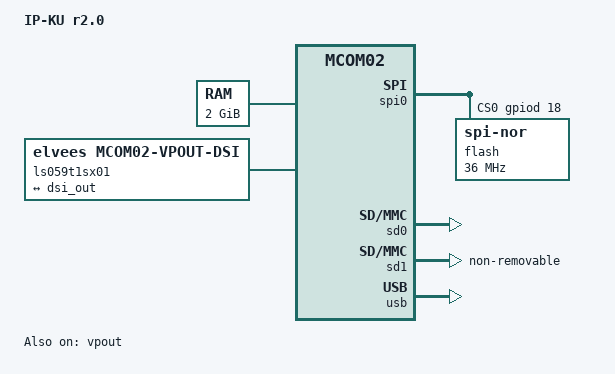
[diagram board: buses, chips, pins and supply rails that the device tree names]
/*
 * Copyright 2018 RnD Center "ELVEES", JSC
 *
 * This program is free software; you can redistribute it and/or modify
 * it under the terms of the GNU General Public License version 2 as
 * published by the Free Software Foundation.
 */

/dts-v1/;

#include <dt-bindings/interrupt-controller/irq.h>

#include "mcom02.dtsi"

/ {
	model = "IP-KU r2.0";
	compatible = "elvees,ip-ku-r2.0",
		     "elvees,ip-ku",
		     "elvees,mcom02";

	chosen {
		bootargs = "console=ttyS0,115200";
	};

	aliases {
		spi0 = &spi0;
	};

	memory {
		device_type = "memory";
		reg = <0x40000000 0x40000000
		       0xa0000000 0x40000000>;
	};

	ls059t1sx01: dsi-panel {
		compatible = "elvees,mcom02-vpout-dsi";

		display-timings {
			1080x1920p60 {
				clock-frequency = <143592000>;
				hactive = <1080>;
				vactive = <1920>;
				hfront-porch = <100>;
				hback-porch = <50>;
				hsync-len = <10>;
				vfront-porch = <4>;
				vback-porch = <4>;
				vsync-len = <2>;
			};
		};

		port {
			dsi_in: endpoint {
				remote-endpoint = <&dsi_out>;
			};
		};
	};
};

&cpllclk {
	clock-mult = <14>;
};

&spi0 {
	status = "okay";
	num-cs = <1>;
	/* Third argument of "cs-gpios" property is set to 0,
	 * because it is ignored by the SPI driver. */
	cs-gpios = <&gpiod 18 0>;

	flash: flash@0 {
		#address-cells = <1>;
		#size-cells = <1>;
		compatible = "jedec,spi-nor", "spi-flash";
		reg = <0>;
		spi-max-frequency = <36000000>;
		m25p,fast-read;
		u-boot,dm-pre-reloc;
	};
};

&sd0 {
	status = "okay";
};

&sd1 {
	status = "okay";
	non-removable;
};

&usb {
	status = "okay";
};

&gpioc {
	skip-gpio-list = <14>;
};

/* IP-KU hangs at high SPLL values, so we should decrease it. */
&spllclk {
	clk-mult-initial = <6>;
};

&l3_pclk {
	clock-div = <1>;
};

&vpout {
	status = "okay";

	port {
		#address-cells = <1>;
		#size-cells = <0>;

		dsi_out: endpoint@0 {
			reg = <0>;
			remote-endpoint = <&dsi_in>;
			info {
				label = "DSI";
				bpp = <24>;
			};
		};
	};
};
